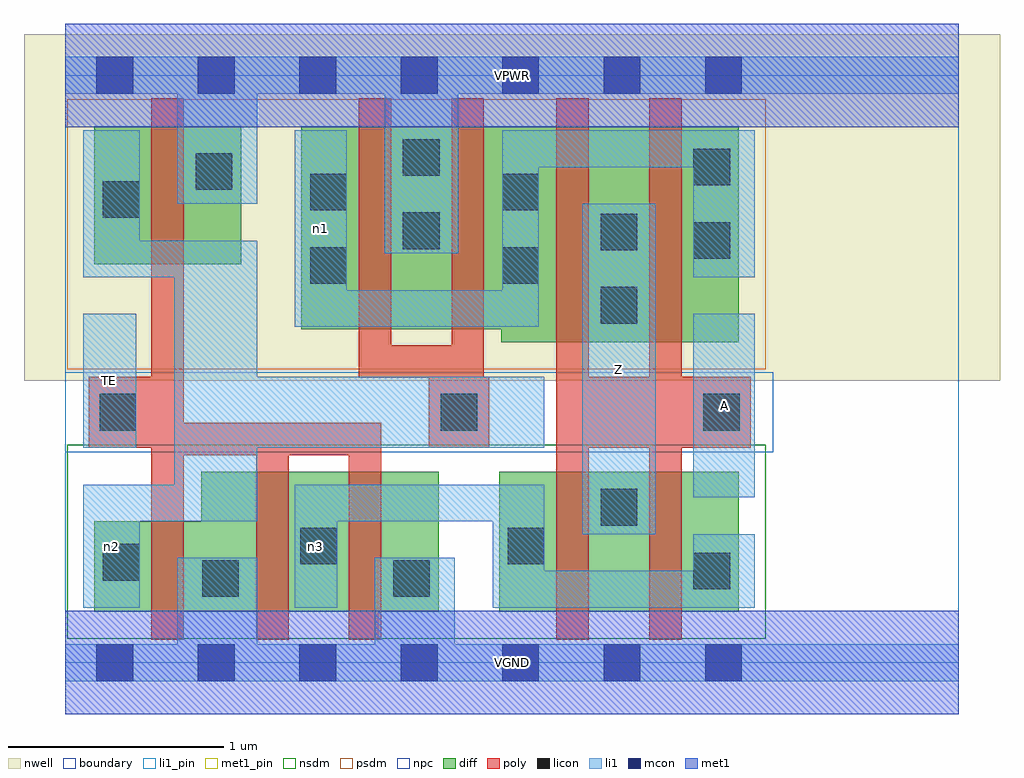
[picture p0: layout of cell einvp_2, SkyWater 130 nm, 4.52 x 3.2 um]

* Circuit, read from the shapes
.subckt einvp_2 A TE VGND VPWR Z n1 n2 n3
XM1 VGND TE n2 VSUBS sky130_fd_pr__nfet_01v8 w=0.42 l=0.15
XM2 n3 TE VGND VSUBS sky130_fd_pr__nfet_01v8 w=0.65 l=0.15 m=2
XM3 Z A n3 VSUBS sky130_fd_pr__nfet_01v8 w=0.65 l=0.15 m=2
XM4 VPWR TE n2 n4 sky130_fd_pr__pfet_01v8 w=0.64 l=0.15
XM5 VPWR n2 n1 n4 sky130_fd_pr__pfet_01v8 w=0.94 l=0.15 m=2
XM6 Z A n1 n4 sky130_fd_pr__pfet_01v8 w=1 l=0.15 m=2
.ends

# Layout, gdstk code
import gdstk
lib = gdstk.Library(unit=1e-6, precision=1e-09)
def R(c, l, rs):  # rectangles x0, y0, x1, y1
    for r in rs: c.add(gdstk.rectangle(r[:2], r[2:], *l))
def A(c, l, x, y, w, h, nx, ny, dx, dy):  # array of equal rectangles
    R(c, l, [(x+i*dx, y+j*dy, x+i*dx+w, y+j*dy+h) for i in range(nx) for j in range(ny)])
nwell = (64, 20)
diff = (65, 20)
poly = (66, 20)
licon = (66, 44)
li1_pin = (67, 16)
li1 = (67, 20)
mcon = (67, 44)
met1_pin = (68, 16)
met1 = (68, 20)
nsdm = (93, 44)
psdm = (94, 20)
npc = (95, 20)
boundary = (235, 4)

einvp_2 = lib.new_cell('einvp_2')
R(einvp_2, nwell, [(-0.19,1.305,4.33,2.91), (0,1.305,4.14,2.91)])
R(einvp_2, diff, [(0.135,0.235,1.73,0.655), (0.63,0.235,1.73,0.885), (2.01,0.235,3.12,0.885), (2.02,1.485,3.12,2.485), (1.095,1.545,3.12,2.485), (0.135,1.845,0.815,2.485)])
R(einvp_2, poly, [(0.4,0.105,0.55,2.615), (0.885,0.105,1.035,1.11), (1.315,0.105,1.465,1.11), (2.275,0.105,2.425,2.615), (2.705,0.105,2.855,2.615), (0.4,0.96,1.465,1.11), (0.11,0.995,0.55,1.325), (1.685,0.995,1.94,1.47), (1.685,0.995,1.965,1.325), (1.79,0.995,1.94,2.615), (2.275,0.995,3.175,1.325), (1.36,1.32,1.51,2.615), (1.36,1.32,1.94,1.47)])
R(einvp_2, licon, [(0.635,0.305,0.805,0.475), (1.52,0.305,1.69,0.475), (2.91,0.34,3.08,0.51), (0.175,0.38,0.345,0.55), (1.09,0.455,1.26,0.625), (2.05,0.455,2.22,0.625), (2.48,0.635,2.65,0.805), (0.16,1.075,0.33,1.245), (1.74,1.075,1.91,1.245), (2.955,1.075,3.125,1.245), (2.48,1.57,2.65,1.74), (1.135,1.755,1.305,1.925), (2.025,1.755,2.195,1.925), (2.91,1.87,3.08,2.04), (2.48,1.91,2.65,2.08), (1.565,1.915,1.735,2.085), (0.175,2.06,0.345,2.23), (1.135,2.095,1.305,2.265), (2.025,2.095,2.195,2.265), (0.605,2.19,0.775,2.36), (2.91,2.21,3.08,2.38), (1.565,2.255,1.735,2.425)])
R(einvp_2, li1_pin, [(2.395,0.595,2.735,2.125), (2.91,0.765,3.195,1.615), (0.085,0.995,0.33,1.615)])
R(einvp_2, li1, [(0,-0.085,4.14,0.085), (0.52,-0.085,0.89,0.485), (1.435,-0.085,1.805,0.485), (0.085,0.255,0.345,0.825), (1.065,0.255,1.26,0.825), (1.98,0.255,3.195,0.425), (1.98,0.255,2.22,0.825), (2.91,0.255,3.195,0.595), (2.395,0.595,2.735,2.125), (0.085,0.655,0.89,0.825), (0.505,0.655,0.89,1.955), (1.065,0.655,2.22,0.825), (2.91,0.765,3.195,1.615), (0.085,0.995,0.33,1.615), (0.505,0.995,2.22,1.325), (1.065,1.555,1.305,2.465), (1.065,1.555,2.195,1.725), (2.025,1.555,2.195,2.465), (0.085,1.785,0.89,1.955), (0.085,1.785,0.345,2.465), (2.91,1.785,3.195,2.465), (1.48,1.895,1.82,2.805), (0.52,2.125,0.89,2.805), (2.025,2.295,3.195,2.465), (0,2.635,4.14,2.805)])
A(einvp_2, mcon, 0.145, -0.085, 0.17, 0.17, 7, 2, 0.47, 2.72)
R(einvp_2, met1_pin, [(0,-0.24,4.14,0.24), (0,2.48,4.14,2.96)])
R(einvp_2, met1, [(0,-0.24,4.14,0.24), (0,2.48,4.14,2.96)])
R(einvp_2, nsdm, [(0.01,0.11,3.245,1.01)])
R(einvp_2, psdm, [(0.01,1.36,3.245,2.61)])
R(einvp_2, npc, [(0,0.975,3.28,1.345)])
R(einvp_2, boundary, [(0,0,4.14,2.72)])
einvp_2.add(gdstk.Label('A', (3.052,1.19), layer=67, texttype=5))
einvp_2.add(gdstk.Label('TE', (0.207,1.305), layer=67, texttype=5))
einvp_2.add(gdstk.Label('Z', (2.565,1.36), layer=67, texttype=5))
einvp_2.add(gdstk.Label('n3', (1.162,0.54), layer=67, texttype=5))
einvp_2.add(gdstk.Label('n2', (0.215,0.54), layer=67, texttype=5))
einvp_2.add(gdstk.Label('n1', (1.185,2.01), layer=67, texttype=5))
einvp_2.add(gdstk.Label('VPWR', (2.07,2.72), layer=68, texttype=5))
einvp_2.add(gdstk.Label('VGND', (2.07,0), layer=68, texttype=5))
einvp_2.add(gdstk.Label('A', (3.052,1.19), layer=67, texttype=16))
einvp_2.add(gdstk.Label('TE', (0.207,1.305), layer=67, texttype=16))
einvp_2.add(gdstk.Label('Z', (2.565,1.36), layer=67, texttype=16))
einvp_2.add(gdstk.Label('VPWR', (2.07,2.72), layer=68, texttype=16))
einvp_2.add(gdstk.Label('VGND', (2.07,0), layer=68, texttype=16))

lib.write_gds('einvp_2.gds')
